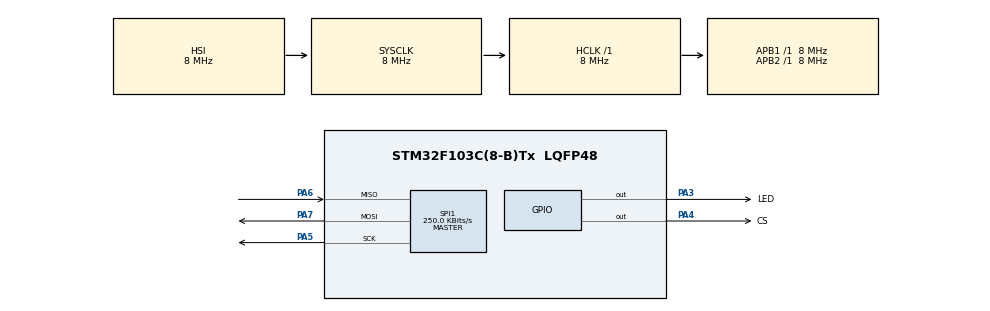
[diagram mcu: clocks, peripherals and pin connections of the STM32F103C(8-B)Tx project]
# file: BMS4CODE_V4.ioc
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Mcu.Family=STM32F1
Mcu.Name=STM32F103C(8-B)Tx
Mcu.Package=LQFP48
NVIC.PriorityGroup=NVIC_PRIORITYGROUP_4
PA13.Mode=Serial_Wire
PA13.Signal=SYS_JTMS-SWDIO
PA14.Mode=Serial_Wire
PA14.Signal=SYS_JTCK-SWCLK
PA3.GPIO_Label=LED
PA3.Signal=GPIO_Output
PA4.GPIO_Label=CS
PA4.Signal=GPIO_Output
PA5.Mode=Full_Duplex_Master
PA5.Signal=SPI1_SCK
PA6.Mode=Full_Duplex_Master
PA6.Signal=SPI1_MISO
PA7.Mode=Full_Duplex_Master
PA7.Signal=SPI1_MOSI
ProjectManager.HeapSize=0x200
ProjectManager.StackSize=0x400
ProjectManager.TargetToolchain=STM32CubeIDE
RCC.AHBFreq_Value=8000000
RCC.APB1Freq_Value=8000000
RCC.APB1TimFreq_Value=8000000
RCC.APB2Freq_Value=8000000
RCC.APB2TimFreq_Value=8000000
RCC.HCLKFreq_Value=8000000
RCC.PLLMUL=RCC_PLL_MUL4
RCC.SYSCLKFreq_VALUE=8000000
RCC.USBFreq_Value=16000000
SPI1.BaudRatePrescaler=SPI_BAUDRATEPRESCALER_32
SPI1.CalculateBaudRate=250.0 KBits/s
SPI1.Direction=SPI_DIRECTION_2LINES
SPI1.Mode=SPI_MODE_MASTER
SPI1.VirtualType=VM_MASTER
board=custom

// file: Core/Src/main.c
/* USER CODE BEGIN Header */
/**
 ******************************************************************************
 * @file           : main.c
 * @brief          : Main program body
 ******************************************************************************
 * @attention
 *
 * Copyright (c) 2026 STMicroelectronics.
 * All rights reserved.
 *
 * This software is licensed under terms that can be found in the LICENSE file
 * in the root directory of this software component.
 * If no LICENSE file comes with this software, it is provided AS-IS.
 *
 ******************************************************************************
 */
/* USER CODE END Header */
#include "main.h"

SPI_HandleTypeDef hspi1;

/* USER CODE BEGIN PV */
uint16_t REG18_Voltage_mV = 0;
/* USER CODE END PV */

void SystemClock_Config(void);
static void MX_GPIO_Init(void);
static void MX_SPI1_Init(void);

/* USER CODE BEGIN 0 */

// BQ76952 Haberleşme Durum Kodları
typedef enum {
	BQ_OK = 0x00,              // İşlem başarılı, veri geçerli
	BQ_ERR_SLEEP = 0x01,       // Çip uykuda veya osilatör hazır değil (0xFFFF)
	BQ_ERR_CRC_PREV = 0x02,    // Bir önceki gönderdiğimiz pakette CRC hatası yapmışız (0xAA)
	BQ_ERR_NOT_READY = 0x03,   // Çip veriyi buffer'a koymaya yetişemedi (0x00)
	BQ_ERR_CRC_RX = 0x04,      // Çipten gelen verinin CRC'si bozuk
	BQ_ERR_SPI = 0x05          // STM32 donanımsal SPI hatası (Kablo kopuk vb.)
} BQ_StatusTypeDef;

// Daha önce yazdığımız yazılım CRC fonksiyonumuz
uint8_t BQ_CalculateCRC(uint8_t *data, uint8_t length) {
	uint8_t crc = 0x00;
	for (uint8_t i = 0; i < length; i++) {
		crc ^= data[i];
		for (uint8_t bit = 0; bit < 8; bit++) {
			if (crc & 0x80) crc = (crc << 1) ^ 0x07;
			else            crc = (crc << 1);
		}
	}
	return crc;
}

// Statüs döndüren güvenli okuma fonksiyonu
BQ_StatusTypeDef BQ_SPI_ReadReg(uint8_t reg_addr, uint8_t *data_out) {
	uint8_t tx_buf[3];
	uint8_t rx_buf[3];
	HAL_StatusTypeDef spi_status;

	// ==========================================
	// ADIM A: Çipe Adresi Söyle (R/W = 0)
	// ==========================================
	tx_buf[0] = reg_addr & 0x7F; // Okuma için MSB = 0
	tx_buf[1] = 0x00;            // Data baytı (Okumada önemsiz)

	// Eğer System Core altındaki bağımsız CRC'yi kullanacaksanız burayı açın:
	//tx_buf[2] = (uint8_t)HAL_CRC_Calculate(&hcrc, (uint32_t*)tx_buf, 2);
	tx_buf[2] = BQ_CalculateCRC(tx_buf, 2);
	HAL_GPIO_WritePin(GPIOA, CS_Pin, GPIO_PIN_RESET);
	HAL_Delay(2);
	spi_status = HAL_SPI_TransmitReceive(&hspi1, tx_buf, rx_buf, 3, 50);
	HAL_Delay(2);
	HAL_GPIO_WritePin(GPIOA, CS_Pin, GPIO_PIN_SET);

	if (spi_status != HAL_OK) return BQ_ERR_SPI;

	// Çipin veriyi hazırlaması için bekle
	HAL_Delay(2);

	// ==========================================
	// ADIM B: Veriyi Çek (Dummy Transaction)
	// ==========================================
	tx_buf[0] = 0x00;
	tx_buf[1] = 0x00;
	tx_buf[2] = BQ_CalculateCRC(tx_buf, 2);

	HAL_GPIO_WritePin(GPIOA, CS_Pin, GPIO_PIN_RESET);
	spi_status = HAL_SPI_TransmitReceive(&hspi1, tx_buf, rx_buf, 3, 50);
	HAL_GPIO_WritePin(GPIOA, CS_Pin, GPIO_PIN_SET);

	if (spi_status != HAL_OK) return BQ_ERR_SPI;

	// ==========================================
	// HATA KONTROLLERİ (Datasheet'e göre)
	// ==========================================
	// Eğer ilk iki bayt 0xFFFF ise özel hata durumları incelenir
	if (rx_buf[0] == 0xFF && rx_buf[1] == 0xFF) {
		if (rx_buf[2] == 0xFF) return BQ_ERR_SLEEP;    // Çip uykuda
		if (rx_buf[2] == 0xAA) return BQ_ERR_CRC_PREV; // Önceki işlemde CRC hatası
		if (rx_buf[2] == 0x00) return BQ_ERR_NOT_READY;// Veri yetişmedi
	}

	// CRC Doğrulaması: Gelen verinin CRC'si, son baytla eşleşiyor mu?
	uint8_t expected_crc = BQ_CalculateCRC(rx_buf, 2);
	if (expected_crc != rx_buf[2]) {
		return BQ_ERR_CRC_RX; // İletişimde veri bozuldu
	}

	// Her şey mükemmelse veriyi dışarı aktar ve OK dön
	*data_out = rx_buf[1];
	return BQ_OK;
}

// Çipin hayatta ve sağlıklı olup olmadığını kontrol eden "Ping" fonksiyonu
// Dönüş: 1 -> Çalışıyor ve sağlıklı, 0 -> İletişim yok veya çip uykuda
uint8_t BQ_IsAlive(void) {
	uint8_t reg18_low = 0, reg18_high = 0;
	BQ_StatusTypeDef status_low, status_high;
	uint16_t voltage_mV = 0;

	// Alt ve üst baytları oku
	status_low  = BQ_SPI_ReadReg(0x6C, &reg18_low);
	status_high = BQ_SPI_ReadReg(0x6D, &reg18_high);

	// İletişim başarılıysa voltajı hesapla
	if (status_low == BQ_OK && status_high == BQ_OK) {
		voltage_mV = (reg18_high << 8) | reg18_low;

		// REG18 pini 1.8V (1800 mV) üretir.
		// 1700mV ile 1900mV arasındaysa çip kesinlikle kusursuz çalışıyordur.
		if (voltage_mV > 1700 && voltage_mV < 1900) {
			return 1; // Başarılı!
		}
	}

	return 0; // Hata: İletişim koptu, CRC bozuk veya çip uykuda
}
/* USER CODE END 0 */

int main(void)
{

  /* MCU Configuration--------------------------------------------------------*/

  /* Reset of all peripherals, Initializes the Flash interface and the Systick. */
  HAL_Init();

  /* Configure the system clock */
  SystemClock_Config();

  /* Initialize all configured peripherals */
  MX_GPIO_Init();
  MX_SPI1_Init();

  /* Infinite loop */
	while (1) {

    /* USER CODE BEGIN 3 */
		if (BQ_IsAlive() == 1) {
			// Çip çalışıyor, haberleşme mükemmel
			HAL_GPIO_WritePin(LED_GPIO_Port, LED_Pin, GPIO_PIN_SET);

			// İsterseniz Debug modunda görmek için bir değişkene atayabilirsiniz:
			// IC_Status = "OK";
		}
		else {
			// İletişim yok veya hata var
			HAL_GPIO_WritePin(LED_GPIO_Port, LED_Pin, GPIO_PIN_RESET);

			// Eğer uyku modundaysa uyandırmak için CS pinini tetikleyebilirsiniz
			HAL_GPIO_WritePin(GPIOA, CS_Pin, GPIO_PIN_RESET);
			HAL_Delay(1);
			HAL_GPIO_WritePin(GPIOA, CS_Pin, GPIO_PIN_SET);
			HAL_Delay(5); // Uyanması için bekle
		}

		HAL_Delay(500); // Sistemi yormamak için bekle
	}

  /* USER CODE END 3 */
}

void SystemClock_Config(void)
{
  RCC_OscInitTypeDef RCC_OscInitStruct = {0};
  RCC_ClkInitTypeDef RCC_ClkInitStruct = {0};

  /** Initializes the RCC Oscillators according to the specified parameters
  * in the RCC_OscInitTypeDef structure.
  */
  RCC_OscInitStruct.OscillatorType = RCC_OSCILLATORTYPE_HSI;
  RCC_OscInitStruct.HSIState = RCC_HSI_ON;
  RCC_OscInitStruct.HSICalibrationValue = RCC_HSICALIBRATION_DEFAULT;
  RCC_OscInitStruct.PLL.PLLState = RCC_PLL_NONE;
  if (HAL_RCC_OscConfig(&RCC_OscInitStruct) != HAL_OK)
  {
    Error_Handler();
  }

  /** Initializes the CPU, AHB and APB buses clocks
  */
  RCC_ClkInitStruct.ClockType = RCC_CLOCKTYPE_HCLK|RCC_CLOCKTYPE_SYSCLK
                              |RCC_CLOCKTYPE_PCLK1|RCC_CLOCKTYPE_PCLK2;
  RCC_ClkInitStruct.SYSCLKSource = RCC_SYSCLKSOURCE_HSI;
  RCC_ClkInitStruct.AHBCLKDivider = RCC_SYSCLK_DIV1;
  RCC_ClkInitStruct.APB1CLKDivider = RCC_HCLK_DIV1;
  RCC_ClkInitStruct.APB2CLKDivider = RCC_HCLK_DIV1;

  if (HAL_RCC_ClockConfig(&RCC_ClkInitStruct, FLASH_LATENCY_0) != HAL_OK)
  {
    Error_Handler();
  }
}

static void MX_SPI1_Init(void)
{

  /* SPI1 parameter configuration*/
  hspi1.Instance = SPI1;
  hspi1.Init.Mode = SPI_MODE_MASTER;
  hspi1.Init.Direction = SPI_DIRECTION_2LINES;
  hspi1.Init.DataSize = SPI_DATASIZE_8BIT;
  hspi1.Init.CLKPolarity = SPI_POLARITY_LOW;
  hspi1.Init.CLKPhase = SPI_PHASE_1EDGE;
  hspi1.Init.NSS = SPI_NSS_SOFT;
  hspi1.Init.BaudRatePrescaler = SPI_BAUDRATEPRESCALER_32;
  hspi1.Init.FirstBit = SPI_FIRSTBIT_MSB;
  hspi1.Init.TIMode = SPI_TIMODE_DISABLE;
  hspi1.Init.CRCCalculation = SPI_CRCCALCULATION_DISABLE;
  hspi1.Init.CRCPolynomial = 10;
  if (HAL_SPI_Init(&hspi1) != HAL_OK)
  {
    Error_Handler();
  }

}

static void MX_GPIO_Init(void)
{
  GPIO_InitTypeDef GPIO_InitStruct = {0};

  /* GPIO Ports Clock Enable */
  __HAL_RCC_GPIOA_CLK_ENABLE();

  /*Configure GPIO pin Output Level */
  HAL_GPIO_WritePin(GPIOA, LED_Pin|CS_Pin, GPIO_PIN_RESET);

  /*Configure GPIO pins : LED_Pin CS_Pin */
  GPIO_InitStruct.Pin = LED_Pin|CS_Pin;
  GPIO_InitStruct.Mode = GPIO_MODE_OUTPUT_PP;
  GPIO_InitStruct.Pull = GPIO_NOPULL;
  GPIO_InitStruct.Speed = GPIO_SPEED_FREQ_LOW;
  HAL_GPIO_Init(GPIOA, &GPIO_InitStruct);

}

void Error_Handler(void)
{
	__disable_irq();
	while (1) {
	}
}
#ifdef USE_FULL_ASSERT
/**
  * @brief  Reports the name of the source file and the source line number
  *         where the assert_param error has occurred.
  * @param  file: pointer to the source file name
  * @param  line: assert_param error line source number
  * @retval None
  */
void assert_failed(uint8_t *file, uint32_t line)
{
  /* USER CODE BEGIN 6 */
	/* User can add his own implementation to report the file name and line
     number, ex: printf("Wrong parameters value: file %s on line %d\r\n", file,
     line) */
  /* USER CODE END 6 */
}
#endif /* USE_FULL_ASSERT */
